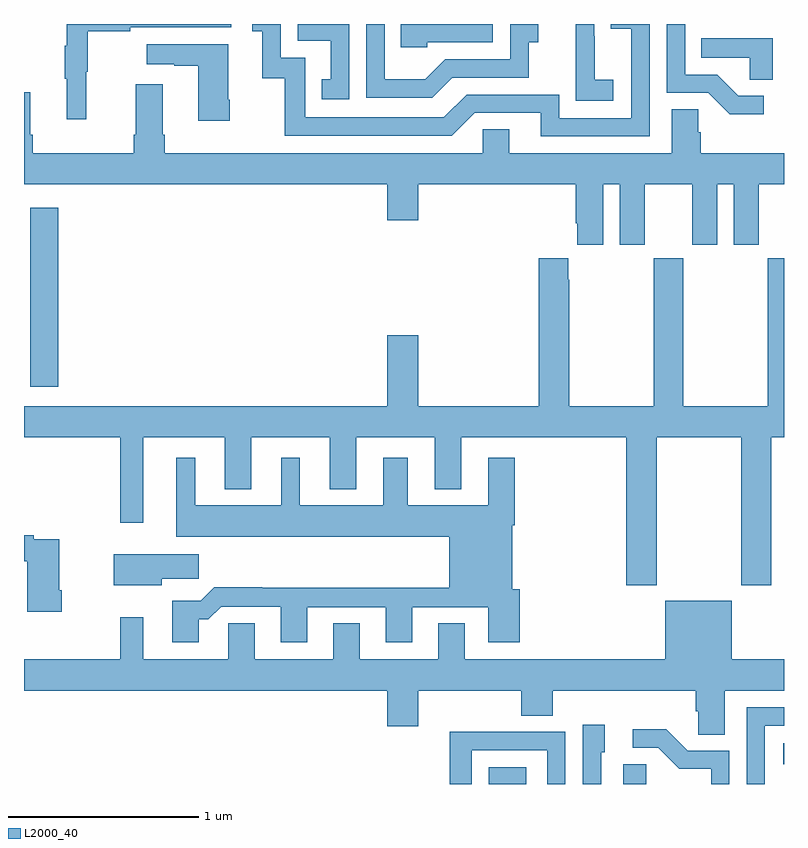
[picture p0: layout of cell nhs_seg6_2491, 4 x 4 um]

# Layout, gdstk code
import gdstk
lib = gdstk.Library(unit=1e-6, precision=1e-09)
def R(c, l, rs):  # rectangles x0, y0, x1, y1
    for r in rs: c.add(gdstk.rectangle(r[:2], r[2:], *l))
def P(c, l, *ps):  # polygons
    for p in ps: c.add(gdstk.Polygon(p, *l))
L2000_40 = (2000, 40)

nhs_seg6_2491 = lib.new_cell('nhs_seg6_2491')
R(nhs_seg6_2491, L2000_40, [(261.446,957.5,261.643,957.589), (262.154,957.5,262.275,957.605), (262.995,957.605,263,957.715), (259.034,959.592,259.181,960.532)])
P(nhs_seg6_2491, L2000_40, [(262.102,961.207),(262.004,961.207),(262.004,961.436),(262.002,961.436),(262.002,961.5),(261.904,961.5),(261.904,961.097),(262.102,961.097)],
  [(259.328,961.248),(259.336,961.248),(259.336,961.462),(259.559,961.462),(259.559,961.482),(260.092,961.482),(260.092,961.5),(259.226,961.5),(259.226,961.385),(259.215,961.385),(259.215,961.211),(259.226,961.211),(259.226,960.999),(259.328,960.999)],
  [(262.894,961.122),(262.759,961.122),(262.648,961.233),(262.479,961.233),(262.479,961.5),(262.383,961.5),(262.383,961.137),(262.602,961.137),(262.715,961.025),(262.894,961.025)],
  [(262.293,961.5),(262.087,961.5),(262.087,961.474),(262.197,961.474),(262.197,961.005),(261.816,961.005),(261.816,961.128),(261.33,961.128),(261.21,961.008),(260.481,961.008),(260.481,961.323),(260.352,961.323),(260.352,961.5),(260.202,961.5),(260.202,961.461),(260.255,961.461),(260.255,961.215),(260.373,961.215),(260.373,960.912),(261.252,960.912),(261.372,961.032),(261.719,961.032),(261.719,960.909),(262.293,960.909)],
  [(261.253,961.218),(261.657,961.218),(261.657,961.403),(261.706,961.403),(261.706,961.5),(261.558,961.5),(261.558,961.314),(261.216,961.314),(261.112,961.21),(260.898,961.21),(260.898,961.5),(260.802,961.5),(260.802,961.113),(261.148,961.113)],
  [(260.712,961.5),(260.442,961.5),(260.442,961.413),(260.615,961.413),(260.615,961.209),(260.566,961.209),(260.566,961.104),(260.712,961.104)],
  [(261.123,961.404),(261.468,961.404),(261.468,961.5),(260.983,961.5),(260.983,961.377),(261.123,961.377)],
  [(262.942,961.426),(262.564,961.426),(262.564,961.322),(262.821,961.322),(262.821,961.207),(262.942,961.207)],
  [(260.082,961.102),(260.074,961.102),(260.074,961.393),(259.647,961.393),(259.647,961.289),(259.79,961.289),(259.79,961.279),(259.916,961.279),(259.916,960.99),(260.082,960.99)],
  [(262.048,960.656),(262.136,960.656),(262.136,960.339),(262.267,960.339),(262.267,960.656),(262.517,960.656),(262.517,960.339),(262.648,960.339),(262.648,960.656),(262.736,960.656),(262.736,960.339),(262.867,960.339),(262.867,960.656),(263,960.656),(263,960.82),(262.562,960.82),(262.562,960.929),(262.548,960.929),(262.548,961.052),(262.409,961.052),(262.409,960.82),(261.553,960.82),(261.553,960.947),(261.414,960.947),(261.414,960.82),(259.742,960.82),(259.742,960.916),(259.729,960.916),(259.729,961.183),(259.589,961.183),(259.589,960.916),(259.577,960.916),(259.577,960.82),(259.046,960.82),(259.046,960.916),(259.033,960.916),(259.033,961.141),(259,961.141),(259,960.656),(260.912,960.656),(260.912,960.468),(261.076,960.468),(261.076,960.656),(261.904,960.656),(261.904,960.451),(261.911,960.451),(261.911,960.339),(262.048,960.339)],
  [(262.329,959.324),(262.774,959.324),(262.774,958.545),(262.934,958.545),(262.934,959.324),(263,959.324),(263,960.268),(262.915,960.268),(262.915,959.488),(262.47,959.488),(262.47,960.268),(262.315,960.268),(262.315,959.488),(261.87,959.488),(261.87,960.155),(261.865,960.155),(261.865,960.268),(261.71,960.268),(261.71,959.488),(261.076,959.488),(261.076,959.863),(260.912,959.863),(260.912,959.488),(259,959.488),(259,959.324),(259.506,959.324),(259.506,958.875),(259.627,958.875),(259.627,959.324),(260.057,959.324),(260.057,959.051),(260.197,959.051),(260.197,959.324),(260.609,959.324),(260.609,959.051),(260.749,959.051),(260.749,959.324),(261.161,959.324),(261.161,959.051),(261.301,959.051),(261.301,959.324),(262.169,959.324),(262.169,958.545),(262.329,958.545)],
  [(259.921,958.367),(259.97,958.367),(260.037,958.434),(260.351,958.434),(260.351,958.245),(260.491,958.245),(260.491,958.431),(260.903,958.431),(260.903,958.245),(261.043,958.245),(261.043,958.431),(261.443,958.431),(261.443,958.245),(261.608,958.245),(261.608,958.524),(261.571,958.524),(261.571,958.862),(261.584,958.862),(261.584,959.218),(261.443,959.218),(261.443,958.966),(261.019,958.966),(261.019,959.218),(260.891,959.218),(260.891,958.966),(260.452,958.966),(260.452,959.218),(260.354,959.218),(260.354,958.966),(259.9,958.966),(259.9,959.218),(259.802,959.218),(259.802,958.802),(261.239,958.802),(261.239,958.532),(260.255,958.532),(260.255,958.535),(260,958.535),(259.93,958.465),(259.781,958.465),(259.781,958.245),(259.921,958.245)],
  [(259.199,958.519),(259.186,958.519),(259.186,958.788),(259.052,958.788),(259.052,958.808),(259,958.808),(259,958.672),(259.016,958.672),(259.016,958.407),(259.199,958.407)],
  [(259.726,958.579),(259.921,958.579),(259.921,958.708),(259.472,958.708),(259.472,958.547),(259.726,958.547)],
  [(260.767,958.346),(260.627,958.346),(260.627,958.156),(260.215,958.156),(260.215,958.346),(260.076,958.346),(260.076,958.156),(259.627,958.156),(259.627,958.378),(259.506,958.378),(259.506,958.156),(259,958.156),(259,957.992),(260.912,957.992),(260.912,957.804),(261.076,957.804),(261.076,957.992),(261.617,957.992),(261.617,957.859),(261.782,957.859),(261.782,957.992),(262.535,957.992),(262.535,957.883),(262.548,957.883),(262.548,957.76),(262.687,957.76),(262.687,957.992),(263,957.992),(263,958.156),(262.726,958.156),(262.726,958.465),(262.376,958.465),(262.376,958.156),(261.319,958.156),(261.319,958.346),(261.179,958.346),(261.179,958.156),(260.767,958.156)],
  [(262.899,957.807),(263,957.807),(263,957.903),(262.803,957.903),(262.803,957.5),(262.899,957.5)],
  [(262.038,957.666),(262.057,957.666),(262.057,957.811),(261.942,957.811),(261.942,957.5),(262.038,957.5)],
  [(262.713,957.675),(262.494,957.675),(262.381,957.788),(262.203,957.788),(262.203,957.69),(262.337,957.69),(262.448,957.579),(262.617,957.579),(262.617,957.5),(262.713,957.5)],
  [(261.357,957.678),(261.753,957.678),(261.753,957.5),(261.849,957.5),(261.849,957.774),(261.533,957.774),(261.533,957.776),(261.241,957.776),(261.241,957.5),(261.357,957.5)])

lib.write_gds('nhs_seg6_2491.gds')
